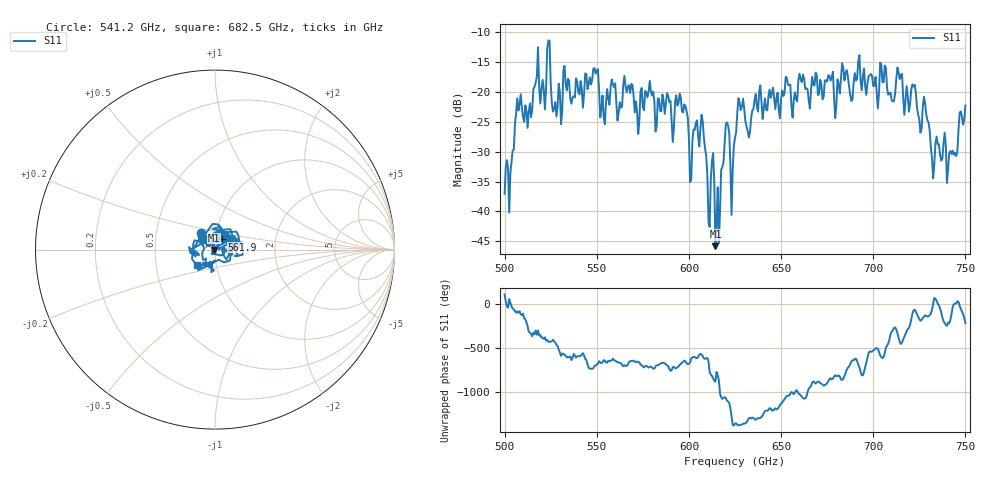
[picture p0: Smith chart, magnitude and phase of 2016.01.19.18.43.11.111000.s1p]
!Created with skrf (http://scikit-rf.org).
# GHz S RI R 50.0
!freq ReS11 ImS11
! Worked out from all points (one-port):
!   401 points, 500 GHz to 750 GHz, reference 50 ohm
!   lowest |S11| = -45.8 dB at 614.4 GHz (marker M1), VSWR 1.01, Z = 49.5 - j0.141 ohm
!   |S11| at or under -10 dB: start of sweep to end of sweep
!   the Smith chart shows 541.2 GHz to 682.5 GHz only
!   S11 on the Smith chart (normalised r, x): 541.2 GHz: 0.84, +0.16; 561.9 GHz: 1.07, +0.12; 682.5 GHz: 0.81, -0.14
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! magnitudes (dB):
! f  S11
! 500 GHz  -37.1
! 503.8 GHz  -31.6
! 507.5 GHz  -23.1
! 513.8 GHz  -21.9
! 516.9 GHz  -18.4
! 531.2 GHz  -23.2
! 541.2 GHz  -18.2
! 549.4 GHz  -16.9
! 553.1 GHz  -20.6
! 561.9 GHz  -23.4
! 562.5 GHz  -21.7
! 593.8 GHz  -22.3
! 601.2 GHz  -34.7
! 607.5 GHz  -25.0
! 610 GHz  -34.0
! 614.4 GHz  -45.8
! 615.6 GHz  -36.0
! 620.6 GHz  -25.1
! 623.1 GHz  -40.6
! 625 GHz  -27.7
! 628.1 GHz  -23.0
! 631.9 GHz  -26.5
! 656.2 GHz  -24.3
! 682.5 GHz  -17.8
! 687.5 GHz  -20.4
! 718.8 GHz  -20.8
! 741.2 GHz  -30.2
! 750 GHz  -22.2
